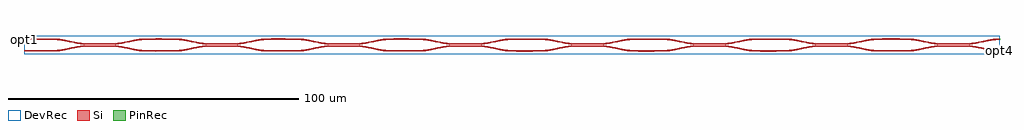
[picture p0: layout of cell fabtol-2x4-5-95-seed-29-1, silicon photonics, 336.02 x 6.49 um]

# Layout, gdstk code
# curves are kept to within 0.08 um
import gdstk
lib = gdstk.Library(unit=1e-6, precision=1e-09)
def R(c, l, rs):  # rectangles x0, y0, x1, y1
    for r in rs: c.add(gdstk.rectangle(r[:2], r[2:], *l))
def P(c, l, *ps):  # polygons
    for p in ps: c.add(gdstk.Polygon(p, *l))
Si = (1, 0)
PinRec = (1, 10)
DevRec = (68, 0)

layer_3_0_phase_sec_2_36 = lib.new_cell('layer-3_0_phase_sec_2$36')
P(layer_3_0_phase_sec_2_36, Si, [(4.467,-0.246),(0,-0.225),(0,0.225),(10,0.225),(10,-0.225)])

layer_0_0_phase_sec_0_36 = lib.new_cell('layer-0_0_phase_sec_0$36')
P(layer_0_0_phase_sec_0_36, Si, [(3.126,-0.24),(0,-0.225),(0,0.225),(10,0.225),(10,-0.225)])

layer_0_0_phase_sec_1_36 = lib.new_cell('layer-0_0_phase_sec_1$36')
P(layer_0_0_phase_sec_1_36, Si, [(2.431,-0.227),(0,-0.225),(0,0.225),(10,0.225),(10,-0.225)])

dc_arm_down_36 = lib.new_cell('dc_arm_down$36')
R(dc_arm_down_36, Si, [(12,-0.55,20,-0.1)])
P(dc_arm_down_36, Si, [(32,-2.225),(30.861,-2.188),(29.344,-2.033),(22.966,-0.793),(21.481,-0.613),(20,-0.55),(20,-0.1),(21.139,-0.137),(22.656,-0.292),(29.034,-1.532),(30.519,-1.712),(32,-1.775)],
  [(0,-2.225),(0,-1.775),(1.481,-1.712),(2.966,-1.532),(9.344,-0.292),(10.861,-0.137),(12,-0.1),(12,-0.55),(10.519,-0.613),(9.034,-0.793),(2.656,-2.033),(1.139,-2.188)])

dc_arm_up_36 = lib.new_cell('dc_arm_up$36')
R(dc_arm_up_36, Si, [(12,0.1,20,0.55)])
P(dc_arm_up_36, Si, [(20,0.1),(20,0.55),(21.481,0.613),(22.966,0.793),(29.344,2.033),(30.861,2.188),(32,2.225),(32,1.775),(30.519,1.712),(29.034,1.532),(22.656,0.292),(21.139,0.137)],
  [(12,0.1),(10.861,0.137),(9.344,0.292),(2.966,1.532),(1.481,1.712),(0,1.775),(0,2.225),(1.139,2.188),(2.656,2.033),(9.034,0.793),(10.519,0.613),(12,0.55)])

dc_36 = lib.new_cell('dc$36')
dc_36.add(gdstk.Reference(dc_arm_down_36, (0,0)))
dc_36.add(gdstk.Reference(dc_arm_up_36, (0,0)))

layer_0_0_phase_sec_2_36 = lib.new_cell('layer-0_0_phase_sec_2$36')
P(layer_0_0_phase_sec_2_36, Si, [(3.265,-0.241),(0,-0.225),(0,0.225),(10,0.225),(10,-0.225)])

layer_0_0_phase_sec_3_36 = lib.new_cell('layer-0_0_phase_sec_3$36')
P(layer_0_0_phase_sec_3_36, Si, [(3.383,-0.24),(0,-0.225),(0,0.225),(10,0.225),(10,-0.225)])

layer_3_0_phase_sec_0_36 = lib.new_cell('layer-3_0_phase_sec_0$36')
P(layer_3_0_phase_sec_0_36, Si, [(1.38,-0.232),(0,-0.225),(0,0.225),(10,0.225),(10,-0.225)])

layer_1_0_phase_sec_1_36 = lib.new_cell('layer-1_0_phase_sec_1$36')
P(layer_1_0_phase_sec_1_36, Si, [(2.492,-0.232),(0,-0.225),(0,0.225),(10,0.225),(10,-0.225)])

layer_3_0_phase_sec_1_36 = lib.new_cell('layer-3_0_phase_sec_1$36')
P(layer_3_0_phase_sec_1_36, Si, [(7.026,-0.247),(0,-0.225),(0,0.225),(10,0.225),(10,-0.225)])

layer_1_0_phase_sec_2_36 = lib.new_cell('layer-1_0_phase_sec_2$36')
P(layer_1_0_phase_sec_2_36, Si, [(5.186,-0.246),(0,-0.225),(0,0.225),(10,0.225),(10,-0.225)])

layer_1_0_phase_sec_3_36 = lib.new_cell('layer-1_0_phase_sec_3$36')
P(layer_1_0_phase_sec_3_36, Si, [(3.691,-0.234),(0,-0.225),(0,0.225),(10,0.225),(10,-0.225)])

layer_1_0_phase_sec_0_36 = lib.new_cell('layer-1_0_phase_sec_0$36')
P(layer_1_0_phase_sec_0_36, Si, [(4.699,-0.245),(0,-0.225),(0,0.225),(10,0.225),(10,-0.225)])

layer_2_0_phase_sec_3_36 = lib.new_cell('layer-2_0_phase_sec_3$36')
P(layer_2_0_phase_sec_3_36, Si, [(6.971,-0.244),(0,-0.225),(0,0.225),(10,0.225),(10,-0.225)])

layer_3_0_phase_sec_3_36 = lib.new_cell('layer-3_0_phase_sec_3$36')
P(layer_3_0_phase_sec_3_36, Si, [(6.024,-0.233),(0,-0.225),(0,0.225),(10,0.225),(10,-0.225)])

layer_2_0_phase_sec_0_36 = lib.new_cell('layer-2_0_phase_sec_0$36')
P(layer_2_0_phase_sec_0_36, Si, [(4.628,-0.233),(0,-0.225),(0,0.225),(10,0.225),(10,-0.225)])

layer_2_0_phase_sec_1_36 = lib.new_cell('layer-2_0_phase_sec_1$36')
P(layer_2_0_phase_sec_1_36, Si, [(2.889,-0.245),(0,-0.225),(0,0.225),(10,0.225),(10,-0.225)])

layer_2_0_phase_sec_2_36 = lib.new_cell('layer-2_0_phase_sec_2$36')
P(layer_2_0_phase_sec_2_36, Si, [(1.058,-0.235),(0,-0.225),(0,0.225),(10,0.225),(10,-0.225)])

fabtol_2x4_5_95_seed_29_ = lib.new_cell('fabtol-2x4-5-95-seed-29-1')
R(fabtol_2x4_5_95_seed_29_, DevRec, [(0,-1,336,5.493)])
fabtol_2x4_5_95_seed_29_.add(gdstk.FlexPath([(335.99,0.247),(336.01,0.247)], 0.45, ends="flush", simple_path=True, layer=1, datatype=10))  # PinRec
fabtol_2x4_5_95_seed_29_.add(gdstk.FlexPath([(335.99,4.247),(336.01,4.247)], 0.45, ends="flush", simple_path=True, layer=1, datatype=10))  # PinRec
fabtol_2x4_5_95_seed_29_.add(gdstk.FlexPath([(0.01,4.247),(-0.01,4.247)], 0.45, ends="flush", simple_path=True, layer=1, datatype=10))  # PinRec
fabtol_2x4_5_95_seed_29_.add(gdstk.Reference(layer_3_0_phase_sec_2_36, (294,4.247)))
fabtol_2x4_5_95_seed_29_.add(gdstk.Reference(layer_0_0_phase_sec_0_36, (0,4.247)))
fabtol_2x4_5_95_seed_29_.add(gdstk.Reference(layer_0_0_phase_sec_1_36, (0,0.247)))
fabtol_2x4_5_95_seed_29_.add(gdstk.Reference(dc_36, (10,2.247)))
fabtol_2x4_5_95_seed_29_.add(gdstk.Reference(dc_36, (52,2.247)))
fabtol_2x4_5_95_seed_29_.add(gdstk.Reference(dc_36, (94,2.247)))
fabtol_2x4_5_95_seed_29_.add(gdstk.Reference(dc_36, (136,2.247)))
fabtol_2x4_5_95_seed_29_.add(gdstk.Reference(dc_36, (178,2.247)))
fabtol_2x4_5_95_seed_29_.add(gdstk.Reference(dc_36, (220,2.247)))
fabtol_2x4_5_95_seed_29_.add(gdstk.Reference(dc_36, (262,2.247)))
fabtol_2x4_5_95_seed_29_.add(gdstk.Reference(dc_36, (304,2.247)))
fabtol_2x4_5_95_seed_29_.add(gdstk.Reference(layer_0_0_phase_sec_2_36, (42,4.247)))
fabtol_2x4_5_95_seed_29_.add(gdstk.Reference(layer_0_0_phase_sec_3_36, (42,0.247)))
fabtol_2x4_5_95_seed_29_.add(gdstk.Reference(layer_3_0_phase_sec_0_36, (252,4.247)))
fabtol_2x4_5_95_seed_29_.add(gdstk.Reference(layer_1_0_phase_sec_1_36, (84,0.247)))
fabtol_2x4_5_95_seed_29_.add(gdstk.Reference(layer_3_0_phase_sec_1_36, (252,0.247)))
fabtol_2x4_5_95_seed_29_.add(gdstk.Reference(layer_1_0_phase_sec_2_36, (126,4.247)))
fabtol_2x4_5_95_seed_29_.add(gdstk.Reference(layer_1_0_phase_sec_3_36, (126,0.247)))
fabtol_2x4_5_95_seed_29_.add(gdstk.Reference(layer_1_0_phase_sec_0_36, (84,4.247)))
fabtol_2x4_5_95_seed_29_.add(gdstk.Reference(layer_2_0_phase_sec_3_36, (210,0.247)))
fabtol_2x4_5_95_seed_29_.add(gdstk.Reference(layer_3_0_phase_sec_3_36, (294,0.247)))
fabtol_2x4_5_95_seed_29_.add(gdstk.Reference(layer_2_0_phase_sec_0_36, (168,4.247)))
fabtol_2x4_5_95_seed_29_.add(gdstk.Reference(layer_2_0_phase_sec_1_36, (168,0.247)))
fabtol_2x4_5_95_seed_29_.add(gdstk.Reference(layer_2_0_phase_sec_2_36, (210,4.247)))
fabtol_2x4_5_95_seed_29_.add(gdstk.Label('opt4', (336,0.247), layer=1, texttype=10))
fabtol_2x4_5_95_seed_29_.add(gdstk.Label('opt3', (336,4.247), layer=1, texttype=10))
fabtol_2x4_5_95_seed_29_.add(gdstk.Label('opt1', (0,4.247), layer=1, texttype=10))

lib.write_gds('fabtol-2x4-5-95-seed-29-1.gds')
